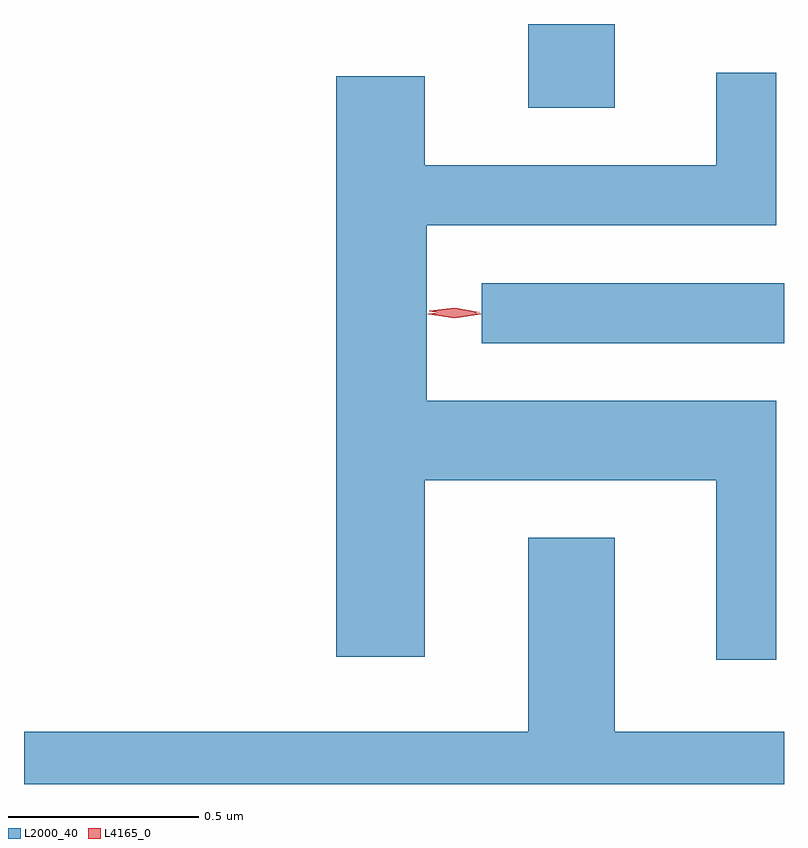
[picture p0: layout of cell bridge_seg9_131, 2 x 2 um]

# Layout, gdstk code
import gdstk
lib = gdstk.Library(unit=1e-6, precision=1e-09)
def R(c, l, rs):  # rectangles x0, y0, x1, y1
    for r in rs: c.add(gdstk.rectangle(r[:2], r[2:], *l))
def P(c, l, *ps):  # polygons
    for p in ps: c.add(gdstk.Polygon(p, *l))
L2000_40 = (2000, 40)
L4165_0 = (4165, 0)

bridge_seg9_131 = lib.new_cell('bridge_seg9_131')
R(bridge_seg9_131, L2000_40, [(1315.688,2017.526,1316.484,2017.684), (1315.811,2018.146,1316.039,2018.366)])
P(bridge_seg9_131, L2000_40, [(1316.464,2017.374),(1315.544,2017.374),(1315.544,2017.836),(1316.464,2017.836),(1316.464,2018.238),(1316.306,2018.238),(1316.306,2017.994),(1315.539,2017.994),(1315.539,2018.229),(1315.306,2018.229),(1315.306,2016.701),(1315.539,2016.701),(1315.539,2017.166),(1316.306,2017.166),(1316.306,2016.693),(1316.464,2016.693)],
  [(1316.484,2016.504),(1316.039,2016.504),(1316.039,2017.014),(1315.811,2017.014),(1315.811,2016.504),(1314.484,2016.504),(1314.484,2016.366),(1316.484,2016.366)])
P(bridge_seg9_131, L4165_0, [(1315.617,2017.592),(1315.548,2017.602),(1315.547,2017.602),(1315.548,2017.603),(1315.617,2017.612),(1315.686,2017.603),(1315.686,2017.602),(1315.686,2017.602)],
  [(1315.616,2017.599),(1315.551,2017.61),(1315.55,2017.61),(1315.551,2017.611),(1315.617,2017.619),(1315.682,2017.608),(1315.683,2017.608),(1315.682,2017.607)])

lib.write_gds('bridge_seg9_131.gds')
